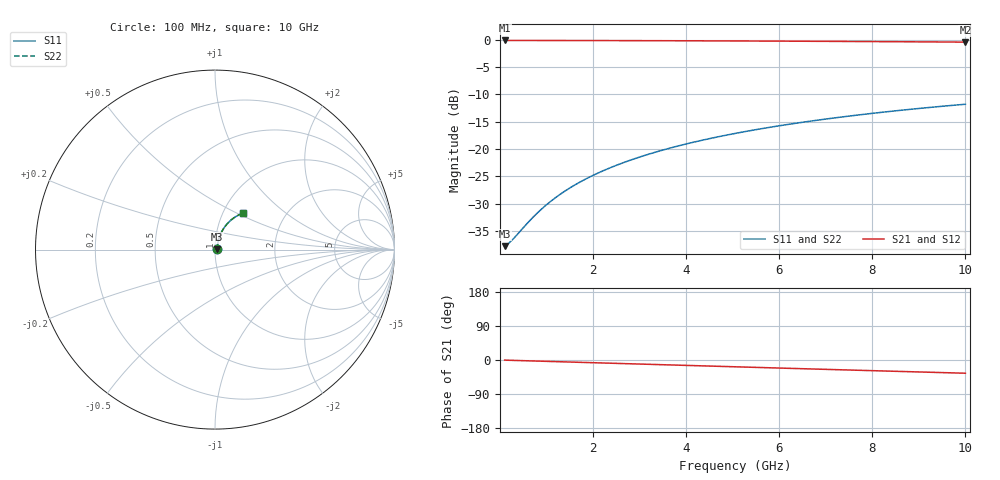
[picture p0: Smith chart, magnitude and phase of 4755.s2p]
# Hz S RI R 50.00
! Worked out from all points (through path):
!   100 points, 100 MHz to 10 GHz, reference 50 ohm
!   highest |S21| = -0.11 dB at 100 MHz (marker M1); lowest = -0.4 dB at 10 GHz (marker M2)
!   group delay of S21, straight-line fit = 9.71 ps
!   lowest |S11| = -37.8 dB at 100 MHz (marker M3), VSWR 1.03, Z = 51.3 + j0.279 ohm
!   |S11| at or under -10 dB: start of sweep to end of sweep
!   |S22| runs from -37.8 to -11.8 dB; largest |S21 - S12| = 0
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1e8  0.0126 0.00272  0.9874 -0.00615  0.9874 -0.00615  0.0126 0.00272
2e8  0.0127 0.00544  0.9873 -0.0123  0.9873 -0.0123  0.0127 0.00544
3e8  0.0128 0.00816  0.9871 -0.0184  0.9871 -0.0184  0.0128 0.00816
7e8  0.0137 0.019  0.986 -0.043  0.986 -0.043  0.0137 0.019
8e8  0.014 0.0217  0.9856 -0.0491  0.9856 -0.0491  0.014 0.0217
1e9  0.0146 0.0271  0.9848 -0.0614  0.9848 -0.0614  0.0146 0.0271
1.2e9  0.0154 0.0325  0.9837 -0.0736  0.9837 -0.0736  0.0154 0.0325
1.4e9  0.0163 0.0378  0.9825 -0.0858  0.9825 -0.0858  0.0163 0.0378
1.6e9  0.0174 0.0431  0.9811 -0.098  0.9811 -0.098  0.0174 0.0431
1.8e9  0.0186 0.0484  0.9795 -0.1102  0.9795 -0.1102  0.0186 0.0484
2.1e9  0.0206 0.0563  0.9768 -0.1283  0.9768 -0.1283  0.0206 0.0563
2.5e9  0.0237 0.0667  0.9725 -0.1524  0.9725 -0.1524  0.0237 0.0667
2.9e9  0.0273 0.0769  0.9676 -0.1763  0.9676 -0.1763  0.0273 0.0769
3.4e9  0.0325 0.0893  0.9605 -0.2059  0.9605 -0.2059  0.0325 0.0893
3.8e9  0.0373 0.099  0.954 -0.2293  0.954 -0.2293  0.0373 0.099
4.2e9  0.0424 0.1084  0.9469 -0.2524  0.9469 -0.2524  0.0424 0.1084
5.1e9  0.0557 0.1284  0.9287 -0.3033  0.9287 -0.3033  0.0557 0.1284
5.9e9  0.0692 0.1448  0.9099 -0.3471  0.9099 -0.3471  0.0692 0.1448
6.7e9  0.0841 0.1598  0.8888 -0.3894  0.8888 -0.3894  0.0841 0.1598
7.5e9  0.1003 0.1731  0.8657 -0.4301  0.8657 -0.4301  0.1003 0.1731
8.4e9  0.1198 0.186  0.8374 -0.4737  0.8374 -0.4737  0.1198 0.186
1e10  0.157 0.2034  0.782 -0.5456  0.782 -0.5456  0.157 0.2034
